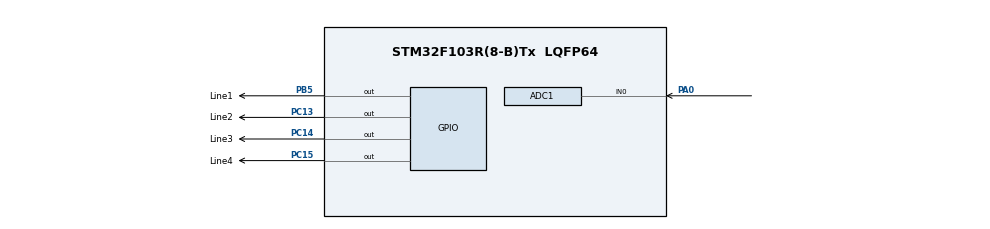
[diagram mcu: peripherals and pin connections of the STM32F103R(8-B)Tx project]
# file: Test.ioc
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ADC1.Channel-0\#ChannelRegularConversion=ADC_CHANNEL_0
ADC1.NbrOfConversionFlag=1
ADC1.Rank-0\#ChannelRegularConversion=1
ADC1.SamplingTime-0\#ChannelRegularConversion=ADC_SAMPLETIME_1CYCLE_5
ADC1.master=1
Mcu.Family=STM32F1
Mcu.Name=STM32F103R(8-B)Tx
Mcu.Package=LQFP64
NVIC.PriorityGroup=NVIC_PRIORITYGROUP_4
PA0-WKUP.Signal=ADCx_IN0
PA13.Mode=Serial_Wire
PA13.Signal=SYS_JTMS-SWDIO
PA14.Mode=Serial_Wire
PA14.Signal=SYS_JTCK-SWCLK
PB5.GPIO_Label=Line1
PB5.Signal=GPIO_Output
PC13-TAMPER-RTC.GPIO_Label=Line2
PC13-TAMPER-RTC.Signal=GPIO_Output
PC14-OSC32_IN.GPIO_Label=Line3
PC14-OSC32_IN.Signal=GPIO_Output
PC15-OSC32_OUT.GPIO_Label=Line4
PC15-OSC32_OUT.Signal=GPIO_Output
ProjectManager.HeapSize=0x200
ProjectManager.StackSize=0x400
ProjectManager.TargetToolchain=MDK-ARM V5.32
RCC.APB1Freq_Value=8000000
RCC.APB2Freq_Value=8000000
SH.ADCx_IN0.0=ADC1_IN0,IN0
board=custom

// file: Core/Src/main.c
/* USER CODE BEGIN Header */
/**
  ******************************************************************************
  * @file           : main.c
  * @brief          : Main program body
  ******************************************************************************
  * @attention
  *
  * Copyright (c) 2023 STMicroelectronics.
  * All rights reserved.
  *
  * This software is licensed under terms that can be found in the LICENSE file
  * in the root directory of this software component.
  * If no LICENSE file comes with this software, it is provided AS-IS.
  *
  ******************************************************************************
  */
/* USER CODE END Header */
#include "main.h"

ADC_HandleTypeDef hadc1;

void SystemClock_Config(void);
static void MX_GPIO_Init(void);
static void MX_ADC1_Init(void);
/* USER CODE BEGIN PFP */
int tinh_vi_tri();

void doc_nen();
void doc_line();
void tinh_nguong();
void hien_thi_led();
void PID();
/* USER CODE END PFP */

/* USER CODE BEGIN 0 */
uint16_t dulieu_nen[100];
uint16_t dulieu_line[100];
uint16_t nguong[100];
uint16_t gt_digital[100];
uint16_t gt_analog[100];

uint8_t tocdo;
int tong_ts;
int tong_gt;
int VT_HIEN_TAI;
int VT_SAU_DO;
int dem = 0;
/* USER CODE END 0 */

// Ham hoc nen
void doc_nen(){
	uint8_t i;
	for(i = 0; i < 14; i++){
		HAL_GPIO_WritePin(Line1_GPIO_Port, Line1_Pin, i&0x01);
		HAL_GPIO_WritePin(Line2_GPIO_Port, Line2_Pin, i&0x02);
		HAL_GPIO_WritePin(Line3_GPIO_Port, Line3_Pin, i&0x04);
		HAL_GPIO_WritePin(Line4_GPIO_Port, Line4_Pin, i&0x08);

		// Khoi tao gia tri ADC1
		HAL_ADC_Start(&hadc1);
		dulieu_nen[i] = HAL_ADC_GetValue(&hadc1);
	}
}

// Ham doc line
void doc_line(){
	uint8_t i;
	for(i = 0; i < 14; i++){
		HAL_GPIO_WritePin(Line1_GPIO_Port, Line1_Pin, i&0x01);
		HAL_GPIO_WritePin(Line2_GPIO_Port, Line2_Pin, i&0x02);
		HAL_GPIO_WritePin(Line3_GPIO_Port, Line3_Pin, i&0x04);
		HAL_GPIO_WritePin(Line4_GPIO_Port, Line4_Pin, i&0x08);

		// Khoi tao gia tri ADC1
		HAL_ADC_Start(&hadc1);
		dulieu_line[i] = HAL_ADC_GetValue(&hadc1);
	}
}
// Ham tinh nguong
void tinh_nguong()
{
	for(uint8_t i = 0; i < 14; i++)
	{
		nguong[i] = (dulieu_line[i] + dulieu_nen[i] )/2;
	}
}

// Ham tinh vi tri cua line
int tinh_vi_tri()
{

	for(uint8_t i = 0; i < 14; i++)
	{
		HAL_GPIO_WritePin(GPIOC,GPIO_PIN_13,i&0x01);
		HAL_GPIO_WritePin(GPIOC,GPIO_PIN_14,i&0x02);
		HAL_GPIO_WritePin(GPIOC,GPIO_PIN_15,i&0x04);
		HAL_GPIO_WritePin(GPIOD,GPIO_PIN_0 ,i&0x08);
		HAL_ADC_Start(&hadc1);
		HAL_ADC_PollForConversion(&hadc1,1000);
		gt_analog[i] = HAL_ADC_GetValue(&hadc1);
		if(gt_analog[i] <= nguong[i])
    {
      gt_digital[i]=0;
    }
    else
    {
      gt_digital[i]=1;
    }
	}
	tong_ts = ( 0*gt_digital[0] +
						  100*gt_digital[1] +
							200*gt_digital[2] +
							300*gt_digital[3] +
							400*gt_digital[4] +
							500*gt_digital[5] +
							600*gt_digital[6] +
							700*gt_digital[7] +
							800*gt_digital[8] +
							900*gt_digital[9] +
							1000*gt_digital[10] +
							1100*gt_digital[11]	+
							1200*gt_digital[12]	+
							1300*gt_digital[13]);
	tong_gt = ( gt_digital[0] +
							gt_digital[1] +
							gt_digital[2] +
							gt_digital[3] +
							gt_digital[4] +
							gt_digital[5] +
							gt_digital[6] +
							gt_digital[7] +
							gt_digital[8] +
							gt_digital[9] +
							gt_digital[10] +
							gt_digital[11] +
							gt_digital[12]	+
							gt_digital[13]);
	VT_HIEN_TAI = (tong_ts / tong_gt);
	if(VT_SAU_DO < 200 && VT_HIEN_TAI == 0)
  {
    VT_HIEN_TAI = 0;
  }
  if(VT_SAU_DO > 1100 && VT_HIEN_TAI == 0)
  {
    VT_HIEN_TAI = 1300;
  }
	if(VT_SAU_DO > 500 && VT_SAU_DO <800 && VT_HIEN_TAI == 0)
	{
		dem++;
	}
  VT_SAU_DO = VT_HIEN_TAI;
	return VT_HIEN_TAI;
}

int main(void)
{

  /* MCU Configuration--------------------------------------------------------*/

  /* Reset of all peripherals, Initializes the Flash interface and the Systick. */
  HAL_Init();

  /* Configure the system clock */
  SystemClock_Config();

  /* Initialize all configured peripherals */
  MX_GPIO_Init();
  MX_ADC1_Init();

  /* Infinite loop */
  while (1)
  {

  }
}

void SystemClock_Config(void)
{
  RCC_OscInitTypeDef RCC_OscInitStruct = {0};
  RCC_ClkInitTypeDef RCC_ClkInitStruct = {0};
  RCC_PeriphCLKInitTypeDef PeriphClkInit = {0};

  /** Initializes the RCC Oscillators according to the specified parameters
  * in the RCC_OscInitTypeDef structure.
  */
  RCC_OscInitStruct.OscillatorType = RCC_OSCILLATORTYPE_HSI;
  RCC_OscInitStruct.HSIState = RCC_HSI_ON;
  RCC_OscInitStruct.HSICalibrationValue = RCC_HSICALIBRATION_DEFAULT;
  RCC_OscInitStruct.PLL.PLLState = RCC_PLL_NONE;
  if (HAL_RCC_OscConfig(&RCC_OscInitStruct) != HAL_OK)
  {
    Error_Handler();
  }

  /** Initializes the CPU, AHB and APB buses clocks
  */
  RCC_ClkInitStruct.ClockType = RCC_CLOCKTYPE_HCLK|RCC_CLOCKTYPE_SYSCLK
                              |RCC_CLOCKTYPE_PCLK1|RCC_CLOCKTYPE_PCLK2;
  RCC_ClkInitStruct.SYSCLKSource = RCC_SYSCLKSOURCE_HSI;
  RCC_ClkInitStruct.AHBCLKDivider = RCC_SYSCLK_DIV1;
  RCC_ClkInitStruct.APB1CLKDivider = RCC_HCLK_DIV1;
  RCC_ClkInitStruct.APB2CLKDivider = RCC_HCLK_DIV1;

  if (HAL_RCC_ClockConfig(&RCC_ClkInitStruct, FLASH_LATENCY_0) != HAL_OK)
  {
    Error_Handler();
  }
  PeriphClkInit.PeriphClockSelection = RCC_PERIPHCLK_ADC;
  PeriphClkInit.AdcClockSelection = RCC_ADCPCLK2_DIV2;
  if (HAL_RCCEx_PeriphCLKConfig(&PeriphClkInit) != HAL_OK)
  {
    Error_Handler();
  }
}

static void MX_ADC1_Init(void)
{

  ADC_ChannelConfTypeDef sConfig = {0};

  /** Common config
  */
  hadc1.Instance = ADC1;
  hadc1.Init.ScanConvMode = ADC_SCAN_DISABLE;
  hadc1.Init.ContinuousConvMode = DISABLE;
  hadc1.Init.DiscontinuousConvMode = DISABLE;
  hadc1.Init.ExternalTrigConv = ADC_SOFTWARE_START;
  hadc1.Init.DataAlign = ADC_DATAALIGN_RIGHT;
  hadc1.Init.NbrOfConversion = 1;
  if (HAL_ADC_Init(&hadc1) != HAL_OK)
  {
    Error_Handler();
  }

  /** Configure Regular Channel
  */
  sConfig.Channel = ADC_CHANNEL_0;
  sConfig.Rank = ADC_REGULAR_RANK_1;
  sConfig.SamplingTime = ADC_SAMPLETIME_1CYCLE_5;
  if (HAL_ADC_ConfigChannel(&hadc1, &sConfig) != HAL_OK)
  {
    Error_Handler();
  }

}

static void MX_GPIO_Init(void)
{
  GPIO_InitTypeDef GPIO_InitStruct = {0};

  /* GPIO Ports Clock Enable */
  __HAL_RCC_GPIOC_CLK_ENABLE();
  __HAL_RCC_GPIOA_CLK_ENABLE();
  __HAL_RCC_GPIOB_CLK_ENABLE();

  /*Configure GPIO pin Output Level */
  HAL_GPIO_WritePin(GPIOC, Line2_Pin|Line3_Pin|Line4_Pin, GPIO_PIN_RESET);

  /*Configure GPIO pin Output Level */
  HAL_GPIO_WritePin(Line1_GPIO_Port, Line1_Pin, GPIO_PIN_RESET);

  /*Configure GPIO pins : Line2_Pin Line3_Pin Line4_Pin */
  GPIO_InitStruct.Pin = Line2_Pin|Line3_Pin|Line4_Pin;
  GPIO_InitStruct.Mode = GPIO_MODE_OUTPUT_PP;
  GPIO_InitStruct.Pull = GPIO_NOPULL;
  GPIO_InitStruct.Speed = GPIO_SPEED_FREQ_LOW;
  HAL_GPIO_Init(GPIOC, &GPIO_InitStruct);

  /*Configure GPIO pin : Line1_Pin */
  GPIO_InitStruct.Pin = Line1_Pin;
  GPIO_InitStruct.Mode = GPIO_MODE_OUTPUT_PP;
  GPIO_InitStruct.Pull = GPIO_NOPULL;
  GPIO_InitStruct.Speed = GPIO_SPEED_FREQ_LOW;
  HAL_GPIO_Init(Line1_GPIO_Port, &GPIO_InitStruct);

}

void Error_Handler(void)
{
  __disable_irq();
  while (1)
  {
  }
}
